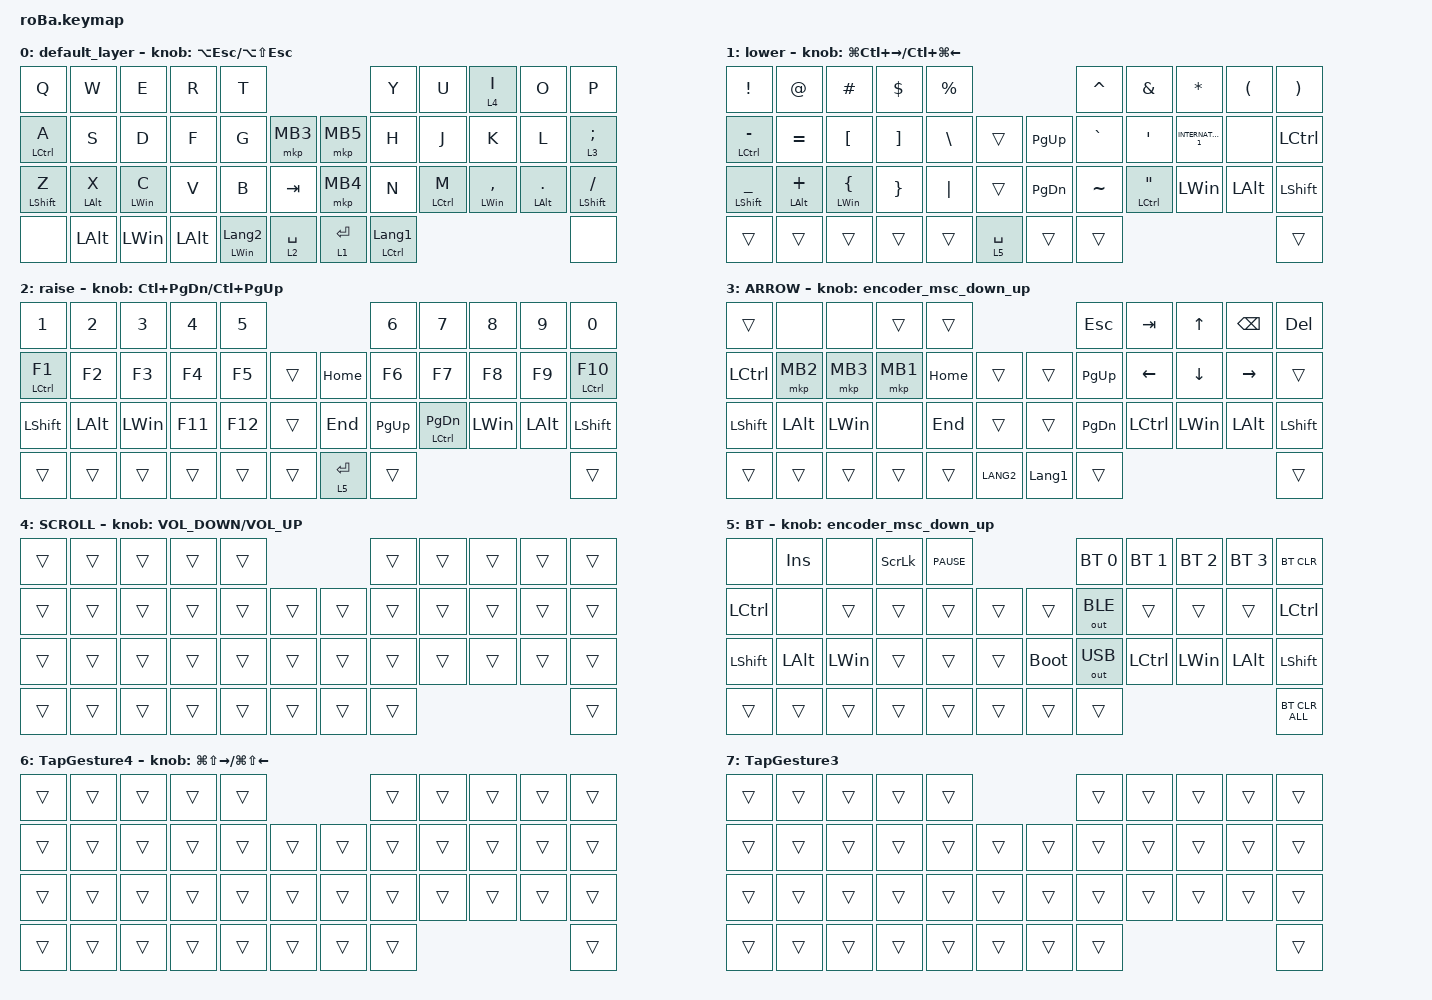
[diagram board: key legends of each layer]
#include <behaviors.dtsi>
#include <dt-bindings/zmk/bt.h>
#include <dt-bindings/zmk/keys.h>
#include <dt-bindings/zmk/outputs.h>
#include <dt-bindings/zmk/pointing.h>

#define ZMK_POINTING_DEFAULT_SCRL_VAL 80

&mt {
    flavor = "balanced";
    quick-tap-ms = <0>;
};

&trackball {
    // automouse-layer = <4>;

    scroll-layers = <4>;

    // arrows {
    //     layers = <3>;
    //     bindings =
    //         <&kp RIGHT_ARROW>,
    //         <&kp LEFT_ARROW>,
    //         <&kp UP_ARROW>,
    //         <&kp DOWN_ARROW>;
    //     tick = <10>;
    //     wait-ms = <5>;
    //     tap-ms = <5>;
    // };

    arrows {
        layers = <6>;
        bindings =
            <&kp LG(LC(RIGHT_ARROW))>,
            <&kp LG(LC(LEFT_ARROW))>,
            <&kp LG(TAB)>,
            <&kp LG(D)>;

        tick = <640>;
        wait-ms = <20>;
        tap-ms = <150>;
    };

    arrows_wm {
        layers = <7>;
        bindings =
            <&kp LG(LS(RIGHT_ARROW))>,
            <&kp LG(LS(LEFT_ARROW))>,
            <&kp LG(LS(UP_ARROW))>,
            <&kp LG(LS(DOWN_ARROW))>;

        tick = <640>;
        wait-ms = <20>;
        tap-ms = <150>;
    };
};

/ {
    combos {
        compatible = "zmk,combos";

        esc {
            bindings = <&kp ESCAPE>;
            key-positions = <0 1>;
        };

        capslock {
            bindings = <&kp CAPSLOCK>;
            key-positions = <1 2>;
        };

        PScrn {
            bindings = <&kp PRINTSCREEN>;
            key-positions = <3 4>;
        };

        del {
            bindings = <&kp DELETE>;
            key-positions = <8 9>;
        };

        tab {
            bindings = <&kp TAB>;
            key-positions = <10 11>;
        };

        mb1 {
            bindings = <&mkp MB1>;
            key-positions = <18 19>;
        };

        mb3 {
            bindings = <&mkp MB3>;
            key-positions = <18 20>;
        };

        mb2 {
            bindings = <&mkp MB2>;
            key-positions = <19 20>;
        };

        lang_ja {
            bindings = <&kp LANG1>;
            key-positions = <29 30>;
        };

        lang_en {
            bindings = <&kp LANGUAGE_2>;
            key-positions = <25 26>;
        };

        bs {
            bindings = <&kp BACKSPACE>;
            key-positions = <8 7>;
        };

        Gesture4 {
            bindings = <&mo 6>;
            key-positions = <9 8 7 6 6 8 9 6 7 8 9>;
            layers = <0>;
        };

        Gesture3 {
            bindings = <&mo 7>;
            key-positions = <6 7 8>;
        };
    };

    macros {
        to_layer_0: to_layer_0 {
            compatible = "zmk,behavior-macro-one-param";
            #binding-cells = <1>;
            bindings = <&to 0 &macro_param_1to1 &kp MACRO_PLACEHOLDER>;
            label = "TO_LAYER_0";
        };
    };

    behaviors {
        encoder_msc_down_up: encoder_msc_down_up {
            compatible = "zmk,behavior-sensor-rotate";
            label = "ENCODER_MSC_DOWN_UP";
            #sensor-binding-cells = <0>;
            bindings = <&msc SCRL_DOWN>, <&msc SCRL_UP>;

            tap-ms = <20>;
        };
    };

    behaviors {
        encoder_msc_right_left: encoder_msc_right_left {
            compatible = "zmk,behavior-sensor-rotate";
            label = "ENCODER_MSC_RIGHT_LEFT";
            #sensor-binding-cells = <0>;
            bindings = <&msc SCRL_RIGHT>, <&msc SCRL_LEFT>;

            tap-ms = <20>;
        };
    };

    behaviors {
        lt_to_layer_0: lt_to_layer_0 {
            compatible = "zmk,behavior-hold-tap";
            label = "LAYER_TAP_TO_0";
            bindings = <&mo>, <&to_layer_0>;

            #binding-cells = <2>;
            tapping-term-ms = <200>;
        };
    };

    keymap {
        compatible = "zmk,keymap";

        default_layer {
            bindings = <
&kp Q             &kp W           &kp E           &kp R         &kp T                                                  &kp Y                 &kp U        &lt 4 I             &kp O                &kp P
&mt LCTRL A       &kp S           &kp D           &kp F         &kp G                    &mkp MB3         &mkp MB5     &kp H                 &kp J        &kp K               &kp L                &lt 3 SEMICOLON
&mt LEFT_SHIFT Z  &mt LEFT_ALT X  &mt LEFT_WIN C  &kp V         &kp B                    &kp TAB          &mkp MB4     &kp N                 &mt LCTRL M  &mt LEFT_WIN COMMA  &mt LEFT_ALT PERIOD  &mt LEFT_SHIFT SLASH
&none             &kp LEFT_ALT    &kp LEFT_WIN    &kp LEFT_ALT  &mt LEFT_WIN LANGUAGE_2  &lt 2 SPACE      &lt 1 ENTER  &mt LCTRL LANGUAGE_1                                                        &none
            >;

            sensor-bindings = <&inc_dec_kp LA(ESCAPE) LA(LS(ESC))>;
        };

        lower {
            bindings = <
&kp EXCLAMATION            &kp AT_SIGN        &kp HASH                 &kp DOLLAR         &kp PERCENT                                    &kp CARET  &kp AMPERSAND            &kp ASTERISK         &kp LEFT_PARENTHESIS  &kp RIGHT_PARENTHESIS
&mt LCTRL MINUS            &kp EQUAL          &kp LEFT_BRACKET         &kp RIGHT_BRACKET  &kp BACKSLASH  &trans           &kp PAGE_UP    &kp GRAVE  &kp SQT                  &kp INTERNATIONAL_1  &none                 &kp LCTRL
&mt LEFT_SHIFT UNDERSCORE  &mt LEFT_ALT PLUS  &mt LEFT_WIN LEFT_BRACE  &kp RIGHT_BRACE    &kp PIPE       &trans           &kp PAGE_DOWN  &kp TILDE  &mt LCTRL DOUBLE_QUOTES  &kp LEFT_WIN         &kp LEFT_ALT          &kp LEFT_SHIFT
&trans                     &trans             &trans                   &trans             &trans         &lt 5 SPACE      &trans         &trans                                                                         &trans
            >;

            sensor-bindings = <&inc_dec_kp LG(LC(RIGHT)) LC(LG(LEFT))>;
        };

        raise {
            bindings = <
&kp NUMBER_1    &kp NUMBER_2  &kp NUMBER_3  &kp NUMBER_4  &kp N5                            &kp NUMBER_6  &kp N7               &kp N8        &kp N9        &kp N0
&mt LCTRL F1    &kp F2        &kp F3        &kp F4        &kp F5   &trans      &kp HOME     &kp F6        &kp F7               &kp F8        &kp F9        &mt LCTRL F10
&kp LEFT_SHIFT  &kp LEFT_ALT  &kp LEFT_WIN  &kp F11       &kp F12  &trans      &kp END      &kp PG_UP     &mt LCTRL PAGE_DOWN  &kp LEFT_WIN  &kp LEFT_ALT  &kp LEFT_SHIFT
&trans          &trans        &trans        &trans        &trans   &trans      &lt 5 ENTER  &trans                                                         &trans
            >;

            sensor-bindings = <&inc_dec_kp LC(PAGE_DOWN) LC(PAGE_UP)>;
        };

        ARROW {
            bindings = <
&trans          &none         &none         &trans    &trans                                   &kp ESCAPE     &kp TAB         &kp UP_ARROW    &kp BACKSPACE    &kp DELETE
&kp LCTRL       &mkp MB2      &mkp MB3      &mkp MB1  &kp HOME  &trans         &trans          &kp PAGE_UP    &kp LEFT_ARROW  &kp DOWN_ARROW  &kp RIGHT_ARROW  &trans
&kp LEFT_SHIFT  &kp LEFT_ALT  &kp LEFT_WIN  &none     &kp END   &trans         &trans          &kp PAGE_DOWN  &kp LCTRL       &kp LEFT_WIN    &kp LEFT_ALT     &kp LEFT_SHIFT
&trans          &trans        &trans        &trans    &trans    &kp LANG2      &kp LANGUAGE_1  &trans                                                          &trans
            >;

            sensor-bindings = <&encoder_msc_down_up>;
        };

        SCROLL {
            bindings = <
&trans  &trans  &trans  &trans  &trans                      &trans  &trans  &trans  &trans  &trans
&trans  &trans  &trans  &trans  &trans  &trans      &trans  &trans  &trans  &trans  &trans  &trans
&trans  &trans  &trans  &trans  &trans  &trans      &trans  &trans  &trans  &trans  &trans  &trans
&trans  &trans  &trans  &trans  &trans  &trans      &trans  &trans                          &trans
            >;

            sensor-bindings = <&inc_dec_kp C_VOLUME_DOWN C_VOLUME_UP>;
        };

        BT {
            bindings = <
&none           &kp INS       &none         &kp SCROLLLOCK  &kp C_PAUSE                           &bt BT_SEL 0  &bt BT_SEL 1  &bt BT_SEL 2  &bt BT_SEL 3  &bt BT_CLR
&kp LCTRL       &none         &trans        &trans          &trans       &trans      &trans       &out OUT_BLE  &trans        &trans        &trans        &kp LCTRL
&kp LEFT_SHIFT  &kp LEFT_ALT  &kp LEFT_WIN  &trans          &trans       &trans      &bootloader  &out OUT_USB  &kp LCTRL     &kp LEFT_WIN  &kp LEFT_ALT  &kp LEFT_SHIFT
&trans          &trans        &trans        &trans          &trans       &trans      &trans       &trans                                                  &bt BT_CLR_ALL
            >;

            sensor-bindings = <&encoder_msc_down_up>;
        };

        TapGesture4 {
            bindings = <
&trans  &trans  &trans  &trans  &trans                      &trans  &trans  &trans  &trans  &trans
&trans  &trans  &trans  &trans  &trans  &trans      &trans  &trans  &trans  &trans  &trans  &trans
&trans  &trans  &trans  &trans  &trans  &trans      &trans  &trans  &trans  &trans  &trans  &trans
&trans  &trans  &trans  &trans  &trans  &trans      &trans  &trans                          &trans
            >;

            sensor-bindings = <&inc_dec_kp LG(LS(RIGHT_ARROW)) LG(LS(LEFT_ARROW))>;
        };

        TapGesture3 {
            bindings = <
&trans  &trans  &trans  &trans  &trans                      &trans  &trans  &trans  &trans  &trans
&trans  &trans  &trans  &trans  &trans  &trans      &trans  &trans  &trans  &trans  &trans  &trans
&trans  &trans  &trans  &trans  &trans  &trans      &trans  &trans  &trans  &trans  &trans  &trans
&trans  &trans  &trans  &trans  &trans  &trans      &trans  &trans                          &trans
            >;
        };
    };
};
